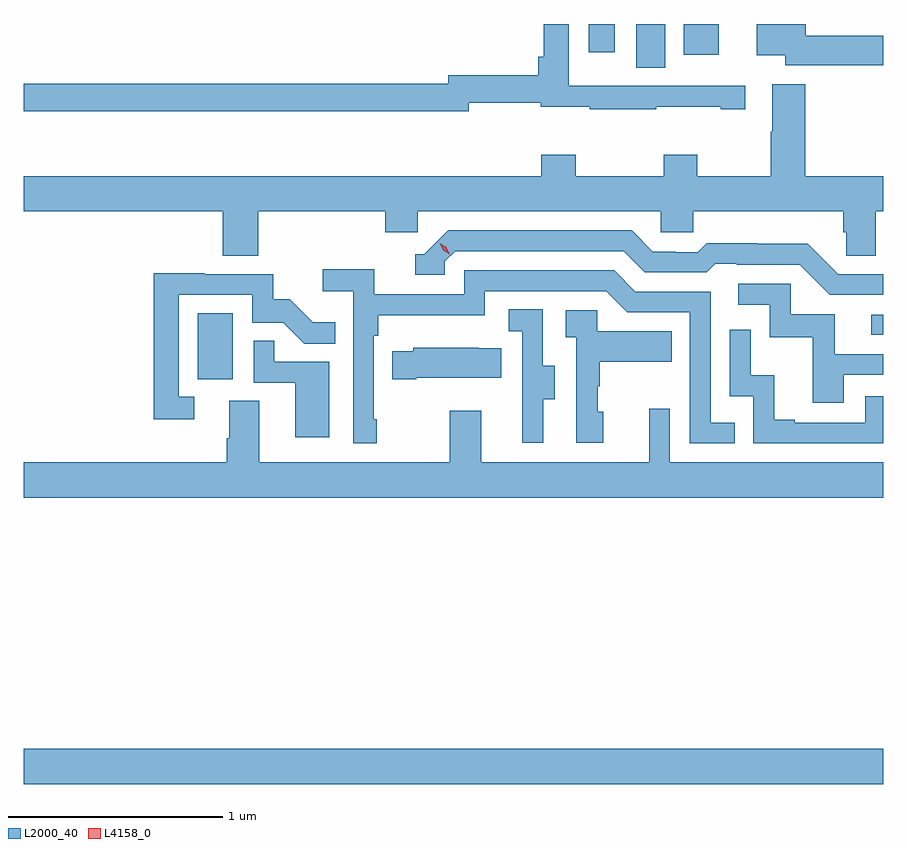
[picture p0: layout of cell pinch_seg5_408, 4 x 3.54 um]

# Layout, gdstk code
import gdstk
lib = gdstk.Library(unit=1e-6, precision=1e-09)
def R(c, l, rs):  # rectangles x0, y0, x1, y1
    for r in rs: c.add(gdstk.rectangle(r[:2], r[2:], *l))
def P(c, l, *ps):  # polygons
    for p in ps: c.add(gdstk.Polygon(p, *l))
L2000_40 = (2000, 40)
L4158_0 = (4158, 0)

pinch_seg5_408 = lib.new_cell('pinch_seg5_408')
R(pinch_seg5_408, L2000_40, [(999.23,860.756,1003.23,860.92), (1000.04,862.638,1000.204,862.945), (1003.173,862.845,1003.23,862.938), (1002.08,864.088,1002.214,864.291), (1002.302,864.147,1002.463,864.291), (1001.858,864.159,1001.98,864.291)])
P(pinch_seg5_408, L2000_40, [(1001.301,863.925),(1001.636,863.925),(1001.636,863.905),(1001.863,863.905),(1001.863,863.895),(1002.173,863.895),(1002.173,863.905),(1002.473,863.905),(1002.473,863.895),(1002.586,863.895),(1002.586,864.004),(1002.31,864.004),(1002.31,864.003),(1001.976,864.003),(1001.976,864.004),(1001.766,864.004),(1001.766,864.291),(1001.65,864.291),(1001.65,864.139),(1001.624,864.139),(1001.624,864.053),(1001.205,864.053),(1001.205,864.014),(999.23,864.014),(999.23,863.886),(1001.301,863.886)],
  [(1003.23,864.236),(1002.868,864.236),(1002.868,864.291),(1002.641,864.291),(1002.641,864.146),(1002.774,864.146),(1002.774,864.1),(1003.23,864.1)],
  [(1000.322,863.42),(1000.913,863.42),(1000.913,863.322),(1001.064,863.322),(1001.064,863.42),(1002.195,863.42),(1002.195,863.322),(1002.345,863.322),(1002.345,863.42),(1003.043,863.42),(1003.043,863.322),(1003.057,863.322),(1003.057,863.212),(1003.194,863.212),(1003.194,863.42),(1003.23,863.42),(1003.23,863.584),(1002.866,863.584),(1002.866,864.01),(1002.713,864.01),(1002.713,863.789),(1002.706,863.789),(1002.706,863.584),(1002.363,863.584),(1002.363,863.683),(1002.208,863.683),(1002.208,863.584),(1001.799,863.584),(1001.799,863.683),(1001.639,863.683),(1001.639,863.584),(999.23,863.584),(999.23,863.42),(1000.157,863.42),(1000.157,863.212),(1000.322,863.212)],
  [(1003.23,863.127),(1003.02,863.127),(1002.878,863.269),(1002.642,863.269),(1002.642,863.272),(1002.409,863.272),(1002.367,863.229),(1002.264,863.229),(1002.264,863.232),(1002.157,863.232),(1002.058,863.331),(1001.205,863.331),(1001.094,863.22),(1001.051,863.22),(1001.051,863.124),(1001.19,863.124),(1001.19,863.187),(1001.238,863.235),(1002.021,863.235),(1002.12,863.136),(1002.409,863.136),(1002.448,863.175),(1002.547,863.175),(1002.547,863.172),(1002.84,863.172),(1002.981,863.031),(1003.23,863.031)],
  [(1000.873,862.453),(1000.86,862.453),(1000.86,862.841),(1000.88,862.841),(1000.88,862.937),(1001.376,862.937),(1001.376,863.049),(1001.94,863.049),(1002.039,862.95),(1002.33,862.95),(1002.33,862.341),(1002.539,862.341),(1002.539,862.437),(1002.426,862.437),(1002.426,863.046),(1002.076,863.046),(1001.977,863.145),(1001.28,863.145),(1001.28,863.034),(1000.862,863.034),(1000.862,863.15),(1000.623,863.15),(1000.623,863.048),(1000.764,863.048),(1000.764,862.341),(1000.873,862.341)],
  [(1000.024,862.557),(999.951,862.557),(999.951,863.031),(1000.293,863.031),(1000.293,862.902),(1000.437,862.902),(1000.535,862.804),(1000.679,862.804),(1000.679,862.903),(1000.575,862.903),(1000.468,863.01),(1000.392,863.01),(1000.392,863.127),(1000.073,863.127),(1000.073,863.132),(999.835,863.132),(999.835,862.452),(1000.024,862.452)],
  [(1003.045,862.659),(1003.23,862.659),(1003.23,862.755),(1003.003,862.755),(1003.003,862.941),(1002.798,862.941),(1002.798,863.082),(1002.555,863.082),(1002.555,862.986),(1002.702,862.986),(1002.702,862.833),(1002.901,862.833),(1002.901,862.53),(1003.045,862.53)],
  [(1001.647,862.546),(1001.701,862.546),(1001.701,862.701),(1001.646,862.701),(1001.646,862.964),(1001.487,862.964),(1001.487,862.861),(1001.55,862.861),(1001.55,862.557),(1001.549,862.557),(1001.549,862.344),(1001.647,862.344)],
  [(1001.926,862.488),(1001.901,862.488),(1001.901,862.607),(1001.911,862.607),(1001.911,862.721),(1002.245,862.721),(1002.245,862.861),(1001.898,862.861),(1001.898,862.959),(1001.751,862.959),(1001.751,862.835),(1001.802,862.835),(1001.802,862.344),(1001.926,862.344)],
  [(1003.23,862.56),(1003.146,862.56),(1003.146,862.437),(1002.817,862.437),(1002.817,862.45),(1002.722,862.45),(1002.722,862.658),(1002.612,862.658),(1002.612,862.87),(1002.516,862.87),(1002.516,862.56),(1002.624,862.56),(1002.624,862.341),(1003.23,862.341)],
  [(1000.651,862.719),(1000.397,862.719),(1000.397,862.817),(1000.302,862.817),(1000.302,862.623),(1000.493,862.623),(1000.493,862.368),(1000.651,862.368)],
  [(1001.056,862.646),(1001.453,862.646),(1001.453,862.783),(1001.345,862.783),(1001.345,862.786),(1001.043,862.786),(1001.043,862.768),(1000.945,862.768),(1000.945,862.639),(1001.056,862.639)],
  [(1003.23,862.252),(1002.237,862.252),(1002.237,862.501),(1002.14,862.501),(1002.14,862.252),(1001.359,862.252),(1001.359,862.492),(1001.212,862.492),(1001.212,862.252),(1000.327,862.252),(1000.327,862.538),(1000.187,862.538),(1000.187,862.364),(1000.175,862.364),(1000.175,862.252),(999.23,862.252),(999.23,862.088),(1003.23,862.088)])
P(pinch_seg5_408, L4158_0, [(1001.213,863.22),(1001.182,863.239),(1001.165,863.272),(1001.165,863.272),(1001.166,863.272),(1001.197,863.253),(1001.213,863.22),(1001.213,863.22)])

lib.write_gds('pinch_seg5_408.gds')
